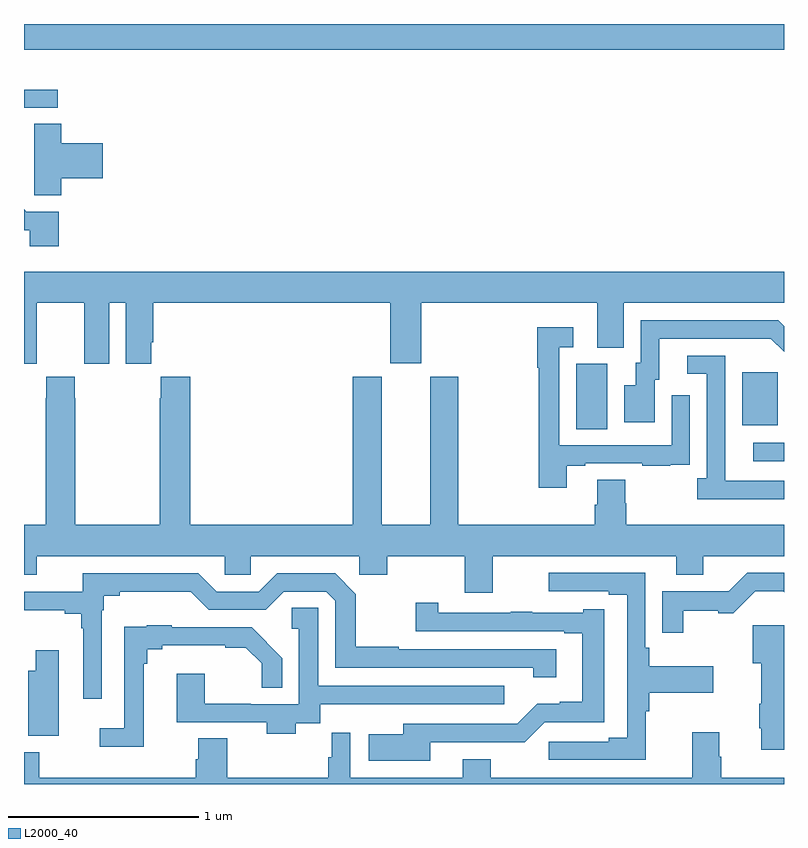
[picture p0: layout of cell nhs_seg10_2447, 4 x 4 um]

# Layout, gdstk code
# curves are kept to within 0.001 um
import gdstk
lib = gdstk.Library(unit=1e-6, precision=1e-09)
def R(c, l, rs):  # rectangles x0, y0, x1, y1
    for r in rs: c.add(gdstk.rectangle(r[:2], r[2:], *l))
def P(c, l, *ps):  # polygons
    for p in ps: c.add(gdstk.Polygon(p, *l))
L2000_40 = (2000, 40)

nhs_seg10_2447 = lib.new_cell('nhs_seg10_2447')
R(nhs_seg10_2447, L2000_40, [(246.837,1250.199,247,1250.295), (245.906,1250.368,246.07,1250.712), (246.779,1250.387,246.967,1250.668), (243,1252.059,243.178,1252.155), (243,1252.364,247,1252.5)])
P(nhs_seg10_2447, L2000_40, [(243.197,1251.689),(243.415,1251.689),(243.415,1251.872),(243.197,1251.872),(243.197,1251.974),(243.053,1251.974),(243.053,1251.706),(243.054,1251.706),(243.054,1251.598),(243.197,1251.598)],
  [(243.182,1251.513),(243.012,1251.513),(243,1251.525),(243,1251.415),(243.029,1251.415),(243.029,1251.33),(243.182,1251.33)],
  [(243.066,1250.824),(243.067,1250.824),(243.067,1251.032),(243.317,1251.032),(243.317,1250.824),(243.318,1250.824),(243.318,1250.712),(243.448,1250.712),(243.448,1251.032),(243.536,1251.032),(243.536,1250.712),(243.67,1250.712),(243.67,1250.824),(243.68,1250.824),(243.68,1251.032),(244.928,1251.032),(244.928,1250.715),(245.092,1250.715),(245.092,1251.032),(246.017,1251.032),(246.017,1250.797),(246.157,1250.797),(246.157,1251.032),(247,1251.032),(247,1251.196),(243,1251.196),(243,1250.712),(243.066,1250.712)],
  [(246.319,1250.628),(246.343,1250.628),(246.343,1250.844),(246.931,1250.844),(247,1250.774),(247,1250.91),(246.97,1250.94),(246.246,1250.94),(246.246,1250.718),(246.221,1250.718),(246.221,1250.599),(246.158,1250.599),(246.158,1250.403),(246.319,1250.403)],
  [(245.857,1250.175),(245.953,1250.175),(245.953,1250.187),(246.253,1250.187),(246.253,1250.175),(246.401,1250.175),(246.401,1250.181),(246.503,1250.181),(246.503,1250.29),(246.504,1250.29),(246.504,1250.545),(246.408,1250.545),(246.408,1250.283),(245.817,1250.283),(245.817,1250.799),(245.89,1250.799),(245.89,1250.905),(245.701,1250.905),(245.701,1250.692),(245.709,1250.692),(245.709,1250.058),(245.857,1250.058)],
  [(247,1250.097),(246.69,1250.097),(246.69,1250.754),(246.492,1250.754),(246.492,1250.658),(246.594,1250.658),(246.594,1250.11),(246.543,1250.11),(246.543,1250),(247,1250)],
  [(245.467,1249.7),(246.434,1249.7),(246.434,1249.601),(246.574,1249.601),(246.574,1249.7),(247,1249.7),(247,1249.864),(246.17,1249.864),(246.17,1249.977),(246.165,1249.977),(246.165,1250.102),(246.017,1250.102),(246.017,1249.97),(246.005,1249.97),(246.005,1249.864),(245.286,1249.864),(245.286,1250.643),(245.138,1250.643),(245.138,1249.864),(244.882,1249.864),(244.882,1250.643),(244.73,1250.643),(244.73,1249.864),(243.875,1249.864),(243.875,1250.644),(243.721,1250.644),(243.721,1250.531),(243.715,1250.531),(243.715,1249.864),(243.27,1249.864),(243.27,1250.531),(243.267,1250.531),(243.267,1250.644),(243.117,1250.644),(243.117,1250.531),(243.115,1250.531),(243.115,1249.864),(243,1249.864),(243,1249.601),(243.067,1249.601),(243.067,1249.7),(244.056,1249.7),(244.056,1249.602),(244.194,1249.602),(244.194,1249.7),(244.765,1249.7),(244.765,1249.602),(244.911,1249.602),(244.911,1249.7),(245.32,1249.7),(245.32,1249.506),(245.467,1249.506)],
  [(246.469,1249.411),(246.653,1249.411),(246.653,1249.399),(246.734,1249.399),(246.849,1249.514),(246.994,1249.514),(247,1249.508),(247,1249.611),(246.807,1249.611),(246.71,1249.514),(246.36,1249.514),(246.36,1249.296),(246.469,1249.296)],
  [(246.273,1248.884),(246.29,1248.884),(246.29,1248.98),(246.628,1248.98),(246.628,1249.12),(246.29,1249.12),(246.29,1249.216),(246.27,1249.216),(246.27,1249.611),(245.763,1249.611),(245.763,1249.515),(246.077,1249.515),(246.077,1249.497),(246.174,1249.497),(246.174,1248.743),(246.077,1248.743),(246.077,1248.723),(245.763,1248.723),(245.763,1248.627),(246.273,1248.627)],
  [(243.408,1249.415),(243.421,1249.415),(243.421,1249.492),(243.505,1249.492),(243.505,1249.511),(243.877,1249.511),(243.972,1249.416),(244.272,1249.416),(244.368,1249.512),(244.59,1249.512),(244.638,1249.464),(244.638,1249.113),(245.679,1249.113),(245.679,1249.062),(245.8,1249.062),(245.8,1249.209),(244.973,1249.209),(244.973,1249.222),(244.747,1249.222),(244.747,1249.499),(244.638,1249.608),(244.332,1249.608),(244.236,1249.512),(244.014,1249.512),(243.918,1249.608),(243.31,1249.608),(243.31,1249.512),(243,1249.512),(243,1249.415),(243.215,1249.415),(243.215,1249.396),(243.3,1249.396),(243.3,1249.319),(243.312,1249.319),(243.312,1248.948),(243.408,1248.948)],
  [(245.137,1248.72),(245.636,1248.719),(245.742,1248.825),(246.055,1248.825),(246.055,1249.42),(245.943,1249.42),(245.943,1249.401),(245.675,1249.401),(245.675,1249.406),(245.563,1249.406),(245.563,1249.401),(245.181,1249.401),(245.181,1249.453),(245.061,1249.453),(245.061,1249.305),(245.843,1249.305),(245.843,1249.293),(245.939,1249.293),(245.939,1248.934),(245.82,1248.934),(245.82,1248.922),(245.701,1248.922),(245.595,1248.816),(244.997,1248.816),(244.997,1248.763),(244.815,1248.763),(244.815,1248.623),(245.137,1248.623)],
  [(244.429,1248.821),(244.558,1248.821),(244.558,1248.92),(244.827,1248.92),(244.827,1248.921),(245.527,1248.921),(245.527,1249.017),(244.549,1249.017),(244.549,1249.319),(244.548,1249.319),(244.548,1249.427),(244.41,1249.427),(244.41,1249.316),(244.445,1249.316),(244.445,1248.921),(244.193,1248.921),(244.193,1248.923),(243.951,1248.923),(243.951,1249.081),(243.803,1249.081),(243.803,1248.825),(244.277,1248.825),(244.277,1248.764),(244.429,1248.764)],
  [(247,1249.336),(246.836,1249.336),(246.836,1249.136),(246.881,1249.136),(246.881,1248.923),(246.869,1248.923),(246.869,1248.793),(246.881,1248.793),(246.881,1248.681),(247,1248.681)],
  [(243.631,1249.133),(243.649,1249.133),(243.649,1249.21),(243.727,1249.21),(243.727,1249.229),(244.058,1249.229),(244.058,1249.218),(244.167,1249.218),(244.251,1249.135),(244.251,1249.006),(244.36,1249.006),(244.36,1249.163),(244.276,1249.246),(244.277,1249.247),(244.198,1249.326),(243.777,1249.326),(243.777,1249.336),(243.645,1249.336),(243.645,1249.328),(243.527,1249.328),(243.527,1248.793),(243.399,1248.793),(243.399,1248.695),(243.631,1248.695)],
  [(243.184,1249.204),(243.062,1249.204),(243.062,1249.096),(243.023,1249.096),(243.023,1248.753),(243.184,1248.753)],
  [(247,1248.532),(246.671,1248.532),(246.671,1248.644),(246.658,1248.644),(246.658,1248.772),(246.518,1248.772),(246.518,1248.532),(245.457,1248.532),(245.457,1248.631),(245.309,1248.631),(245.309,1248.532),(244.716,1248.532),(244.716,1248.769),(244.619,1248.769),(244.619,1248.642),(244.6,1248.642),(244.6,1248.532),(244.07,1248.532),(244.07,1248.74),(243.917,1248.74),(243.917,1248.63),(243.905,1248.63),(243.905,1248.532),(243.08,1248.532),(243.08,1248.667),(243,1248.667),(243,1248.5),(247,1248.5)])

lib.write_gds('nhs_seg10_2447.gds')
